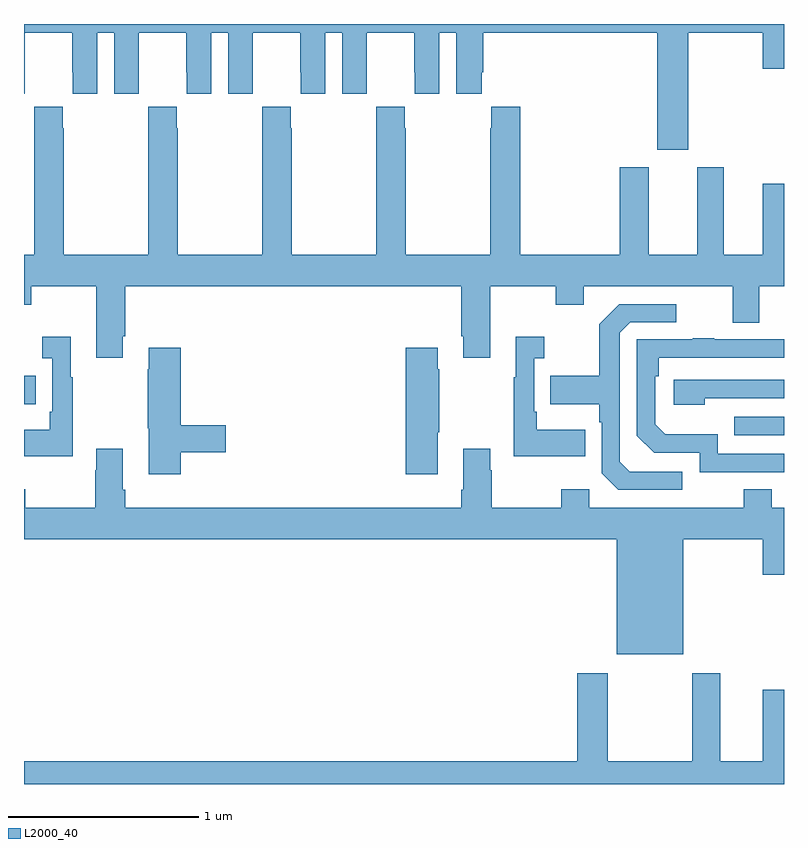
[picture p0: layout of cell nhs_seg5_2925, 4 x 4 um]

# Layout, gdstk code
import gdstk
lib = gdstk.Library(unit=1e-6, precision=1e-09)
def R(c, l, rs):  # rectangles x0, y0, x1, y1
    for r in rs: c.add(gdstk.rectangle(r[:2], r[2:], *l))
def P(c, l, *ps):  # polygons
    for p in ps: c.add(gdstk.Polygon(p, *l))
L2000_40 = (2000, 40)

nhs_seg5_2925 = lib.new_cell('nhs_seg5_2925')
R(nhs_seg5_2925, L2000_40, [(284.737,862.635,285,862.731), (281,862.799,281.063,862.947)])
P(nhs_seg5_2925, L2000_40, [(284.497,864.752),(284.888,864.752),(284.888,864.564),(285,864.564),(285,864.799),(281,864.799),(281,864.432),(281.004,864.432),(281.004,864.544),(281.005,864.544),(281.005,864.752),(281.255,864.752),(281.255,864.544),(281.256,864.544),(281.256,864.432),(281.386,864.432),(281.386,864.752),(281.474,864.752),(281.474,864.432),(281.604,864.432),(281.604,864.544),(281.605,864.544),(281.605,864.752),(281.855,864.752),(281.855,864.544),(281.856,864.544),(281.856,864.432),(281.986,864.432),(281.986,864.752),(282.074,864.752),(282.074,864.432),(282.204,864.432),(282.204,864.544),(282.205,864.544),(282.205,864.752),(282.455,864.752),(282.455,864.544),(282.456,864.544),(282.456,864.432),(282.586,864.432),(282.586,864.752),(282.674,864.752),(282.674,864.432),(282.804,864.432),(282.804,864.544),(282.805,864.544),(282.805,864.752),(283.055,864.752),(283.055,864.544),(283.056,864.544),(283.056,864.432),(283.186,864.432),(283.186,864.752),(283.274,864.752),(283.274,864.432),(283.408,864.432),(283.408,864.544),(283.418,864.544),(283.418,864.752),(284.333,864.752),(284.333,864.138),(284.497,864.138)],
  [(281.521,863.155),(281.534,863.155),(281.534,863.42),(283.301,863.42),(283.301,863.155),(283.313,863.155),(283.313,863.043),(283.453,863.043),(283.453,863.42),(283.798,863.42),(283.798,863.321),(283.945,863.321),(283.945,863.42),(284.729,863.42),(284.729,863.226),(284.869,863.226),(284.869,863.42),(285,863.42),(285,863.959),(284.888,863.959),(284.888,863.584),(284.683,863.584),(284.683,864.046),(284.543,864.046),(284.543,863.584),(284.287,863.584),(284.287,864.046),(284.135,864.046),(284.135,863.584),(283.613,863.584),(283.613,864.364),(283.459,864.364),(283.459,864.251),(283.453,864.251),(283.453,863.584),(283.008,863.584),(283.008,864.251),(283.005,864.251),(283.005,864.364),(282.855,864.364),(282.855,864.251),(282.853,864.251),(282.853,863.584),(282.408,863.584),(282.408,864.251),(282.405,864.251),(282.405,864.364),(282.255,864.364),(282.255,864.251),(282.253,864.251),(282.253,863.584),(281.808,863.584),(281.808,864.251),(281.805,864.251),(281.805,864.364),(281.655,864.364),(281.655,864.251),(281.653,864.251),(281.653,863.584),(281.208,863.584),(281.208,864.251),(281.205,864.251),(281.205,864.364),(281.055,864.364),(281.055,864.251),(281.053,864.251),(281.053,863.584),(281,863.584),(281,863.321),(281.037,863.321),(281.037,863.42),(281.381,863.42),(281.381,863.043),(281.521,863.043)],
  [(284.464,862.443),(284.187,862.443),(284.136,862.494),(284.136,863.175),(284.19,863.229),(284.434,863.229),(284.434,863.325),(284.133,863.325),(284.028,863.219),(284.028,862.947),(283.771,862.947),(283.771,862.799),(284.028,862.799),(284.028,862.703),(284.04,862.703),(284.04,862.434),(284.127,862.347),(284.464,862.347)],
  [(281.257,862.939),(281.245,862.939),(281.245,863.152),(281.097,863.152),(281.097,863.039),(281.148,863.039),(281.148,862.759),(281.136,862.759),(281.136,862.663),(281,862.663),(281,862.523),(281.257,862.523)],
  [(283.955,862.663),(283.699,862.663),(283.699,862.759),(283.686,862.759),(283.686,863.039),(283.738,863.039),(283.738,863.152),(283.589,863.152),(283.589,862.939),(283.578,862.939),(283.578,862.523),(283.955,862.523)],
  [(285,862.536),(284.652,862.536),(284.652,862.639),(284.375,862.639),(284.322,862.692),(284.322,862.946),(284.342,862.946),(284.342,863.043),(285,863.043),(285,863.139),(284.633,863.139),(284.633,863.144),(284.521,863.144),(284.521,863.139),(284.226,863.139),(284.226,862.632),(284.316,862.542),(284.556,862.542),(284.556,862.44),(285,862.44)],
  [(281.825,862.546),(282.061,862.546),(282.061,862.688),(281.825,862.688),(281.825,863.095),(281.657,863.095),(281.657,862.982),(281.65,862.982),(281.65,862.671),(281.657,862.671),(281.657,862.428),(281.825,862.428)],
  [(283.177,862.651),(283.185,862.651),(283.185,862.982),(283.177,862.982),(283.177,863.095),(283.01,863.095),(283.01,862.428),(283.177,862.428)],
  [(284.582,862.83),(285,862.83),(285,862.926),(284.421,862.926),(284.421,862.796),(284.582,862.796)],
  [(283.453,862.451),(283.453,862.564),(283.313,862.564),(283.313,862.348),(283.301,862.348),(283.301,862.252),(281.534,862.252),(281.534,862.348),(281.521,862.348),(281.521,862.564),(281.381,862.564),(281.381,862.451),(281.374,862.451),(281.374,862.252),(281.007,862.252),(281.007,862.351),(281,862.351),(281,862.088),(284.12,862.088),(284.12,861.482),(284.47,861.482),(284.47,862.088),(284.888,862.088),(284.888,861.9),(285,861.9),(285,862.252),(284.935,862.252),(284.935,862.351),(284.788,862.351),(284.788,862.252),(283.974,862.252),(283.974,862.351),(283.828,862.351),(283.828,862.252),(283.461,862.252),(283.461,862.451)],
  [(285,861.295),(284.888,861.295),(284.888,860.92),(284.665,860.92),(284.665,861.382),(284.518,861.382),(284.518,860.92),(284.073,860.92),(284.073,861.382),(283.913,861.382),(283.913,860.92),(281,860.92),(281,860.799),(285,860.799)])

lib.write_gds('nhs_seg5_2925.gds')
